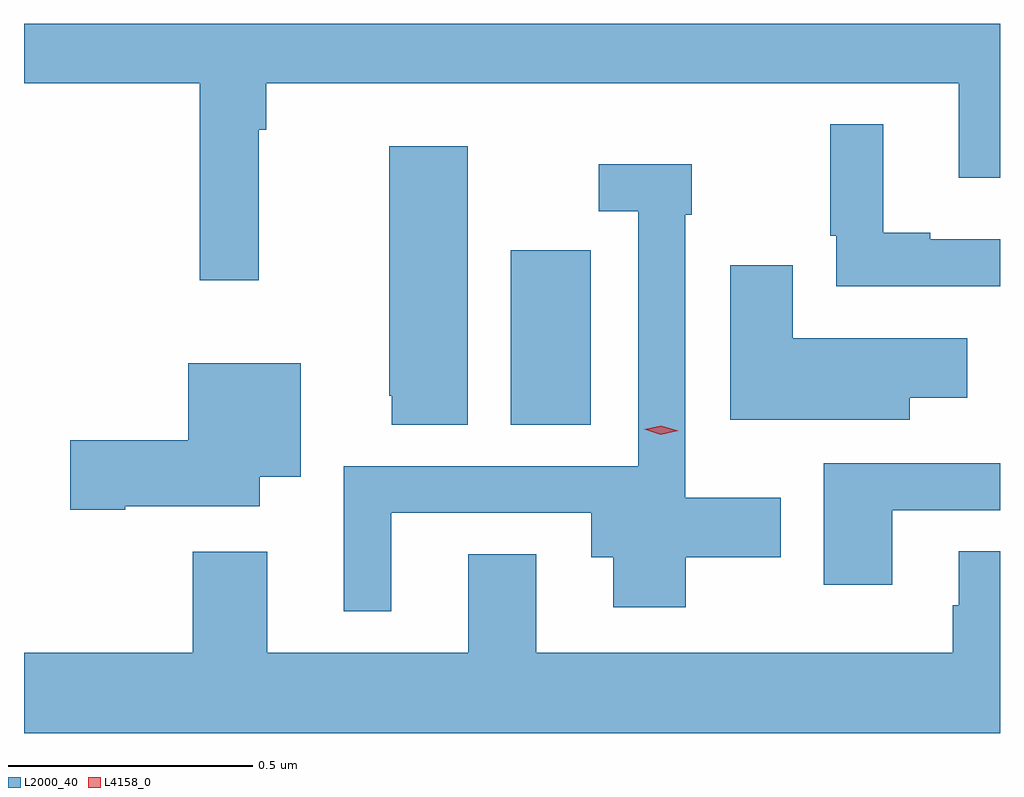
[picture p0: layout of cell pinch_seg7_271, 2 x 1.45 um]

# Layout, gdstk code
import gdstk
lib = gdstk.Library(unit=1e-6, precision=1e-09)
def R(c, l, rs):  # rectangles x0, y0, x1, y1
    for r in rs: c.add(gdstk.rectangle(r[:2], r[2:], *l))
def P(c, l, *ps):  # polygons
    for p in ps: c.add(gdstk.Polygon(p, *l))
L2000_40 = (2000, 40)
L4158_0 = (4158, 0)

pinch_seg7_271 = lib.new_cell('pinch_seg7_271')
R(pinch_seg7_271, L2000_40, [(807.818,1065.184,807.982,1065.541)])
P(pinch_seg7_271, L2000_40, [(807.302,1065.788),(807.317,1065.788),(807.317,1065.884),(808.736,1065.884),(808.736,1065.69),(808.821,1065.69),(808.821,1066.005),(806.821,1066.005),(806.821,1065.884),(807.181,1065.884),(807.181,1065.48),(807.302,1065.48)],
  [(808.821,1065.564),(808.678,1065.564),(808.678,1065.577),(808.582,1065.577),(808.582,1065.799),(808.473,1065.799),(808.473,1065.571),(808.485,1065.571),(808.485,1065.468),(808.821,1065.468)],
  [(807.73,1065.754),(807.569,1065.754),(807.569,1065.243),(807.575,1065.243),(807.575,1065.184),(807.73,1065.184)],
  [(807.574,1065.003),(807.983,1065.003),(807.983,1064.912),(808.028,1064.912),(808.028,1064.81),(808.177,1064.81),(808.177,1064.912),(808.372,1064.912),(808.372,1065.034),(808.176,1065.034),(808.176,1065.614),(808.189,1065.614),(808.189,1065.718),(807.999,1065.718),(807.999,1065.621),(808.08,1065.621),(808.08,1065.099),(807.476,1065.099),(807.476,1064.802),(807.574,1064.802)],
  [(808.636,1065.239),(808.754,1065.239),(808.754,1065.361),(808.396,1065.361),(808.396,1065.511),(808.268,1065.511),(808.268,1065.194),(808.636,1065.194)],
  [(807.028,1065.017),(807.304,1065.017),(807.304,1065.077),(807.388,1065.077),(807.388,1065.31),(807.158,1065.31),(807.158,1065.152),(806.916,1065.152),(806.916,1065.01),(807.028,1065.01)],
  [(808.6,1065.009),(808.821,1065.009),(808.821,1065.105),(808.46,1065.105),(808.46,1064.856),(808.6,1064.856)],
  [(808.821,1064.924),(808.736,1064.924),(808.736,1064.814),(808.724,1064.814),(808.724,1064.716),(807.871,1064.716),(807.871,1064.918),(807.731,1064.918),(807.731,1064.716),(807.319,1064.716),(807.319,1064.923),(807.167,1064.923),(807.167,1064.716),(806.821,1064.716),(806.821,1064.552),(808.821,1064.552)])
P(pinch_seg7_271, L4158_0, [(808.126,1065.163),(808.092,1065.174),(808.091,1065.174),(808.092,1065.174),(808.127,1065.182),(808.162,1065.171),(808.162,1065.171),(808.162,1065.171)])

lib.write_gds('pinch_seg7_271.gds')
